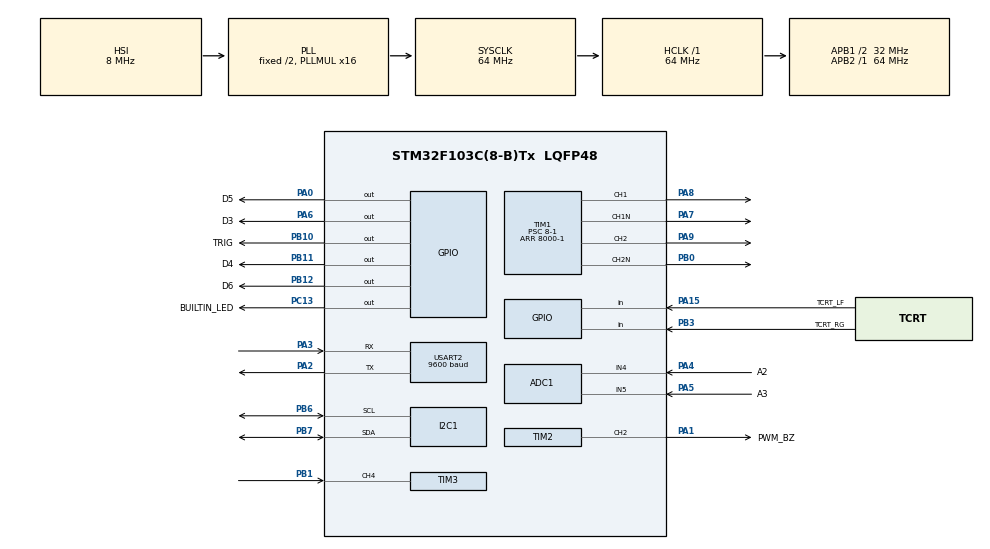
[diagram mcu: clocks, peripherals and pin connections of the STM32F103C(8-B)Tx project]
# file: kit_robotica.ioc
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ADC1.Channel-0\#ChannelRegularConversion=ADC_CHANNEL_4
ADC1.Channel-3\#ChannelRegularConversion=ADC_CHANNEL_5
ADC1.ContinuousConvMode=ENABLE
ADC1.DataAlign=ADC_DATAALIGN_RIGHT
ADC1.DiscontinuousConvMode=DISABLE
ADC1.EnableAnalogWatchDog=false
ADC1.EnableRegularConversion=ENABLE
ADC1.ExternalTrigConv=ADC_SOFTWARE_START
ADC1.InjNumberOfConversion=0
ADC1.NbrOfConversion=2
ADC1.NbrOfConversionFlag=1
ADC1.Rank-0\#ChannelRegularConversion=1
ADC1.Rank-3\#ChannelRegularConversion=2
ADC1.SamplingTime-0\#ChannelRegularConversion=ADC_SAMPLETIME_239CYCLES_5
ADC1.SamplingTime-3\#ChannelRegularConversion=ADC_SAMPLETIME_239CYCLES_5
ADC1.ScanConvMode=ADC_SCAN_ENABLE
ADC1.master=1
I2C1.I2C_Mode=I2C_Fast
Mcu.Family=STM32F1
Mcu.Name=STM32F103C(8-B)Tx
Mcu.Package=LQFP48
NVIC.PriorityGroup=NVIC_PRIORITYGROUP_4
NVIC.TIM3_IRQn=true\:0\:0\:false\:false\:true\:true
PA0-WKUP.GPIO_Label=D5
PA0-WKUP.Signal=GPIO_Output
PA1.GPIO_Label=PWM_BZ
PA1.GPIO_ModeDefaultPP=GPIO_MODE_AF_PP
PA1.Signal=S_TIM2_CH2
PA13.Mode=Serial_Wire
PA13.Signal=SYS_JTMS-SWDIO
PA14.Mode=Serial_Wire
PA14.Signal=SYS_JTCK-SWCLK
PA15.GPIO_Label=TCRT_LF
PA15.GPIO_PuPd=GPIO_PULLUP
PA15.Signal=GPIO_Input
PA2.Mode=Asynchronous
PA2.Signal=USART2_TX
PA3.Mode=Asynchronous
PA3.Signal=USART2_RX
PA4.GPIO_Label=A2
PA4.Signal=ADCx_IN4
PA5.GPIO_Label=A3
PA5.Signal=ADCx_IN5
PA6.GPIO_Label=D3
PA6.Signal=GPIO_Output
PA7.Mode=PWM Generation1 CH1 CH1N
PA7.Signal=TIM1_CH1N
PA8.Signal=S_TIM1_CH1
PA9.Signal=S_TIM1_CH2
PB0.Mode=PWM Generation2 CH2 CH2N
PB0.Signal=TIM1_CH2N
PB1.Signal=S_TIM3_CH4
PB10.GPIO_Label=TRIG
PB10.Signal=GPIO_Output
PB11.GPIO_Label=D4
PB11.Signal=GPIO_Output
PB12.GPIO_Label=D6
PB12.Signal=GPIO_Output
PB3.GPIO_Label=TCRT_RG
PB3.GPIO_PuPd=GPIO_PULLUP
PB3.Signal=GPIO_Input
PB6.Mode=I2C
PB6.Signal=I2C1_SCL
PB7.Mode=I2C
PB7.Signal=I2C1_SDA
PC13-TAMPER-RTC.GPIO_Label=BUILTIN_LED
PC13-TAMPER-RTC.GPIO_ModeDefaultOutputPP=GPIO_MODE_OUTPUT_PP
PC13-TAMPER-RTC.Signal=GPIO_Output
ProjectManager.HeapSize=0x200
ProjectManager.StackSize=0x400
ProjectManager.TargetToolchain=TrueSTUDIO
RCC.ADCPresc=RCC_ADCPCLK2_DIV8
RCC.AHBFreq_Value=64000000
RCC.APB1CLKDivider=RCC_HCLK_DIV2
RCC.APB1Freq_Value=32000000
RCC.APB1TimFreq_Value=64000000
RCC.APB2Freq_Value=64000000
RCC.APB2TimFreq_Value=64000000
RCC.HCLKFreq_Value=64000000
RCC.PLLMUL=RCC_PLL_MUL16
RCC.SYSCLKFreq_VALUE=64000000
RCC.SYSCLKSource=RCC_SYSCLKSOURCE_PLLCLK
RCC.USBFreq_Value=64000000
SH.ADCx_IN4.0=ADC1_IN4,IN4
SH.ADCx_IN5.0=ADC1_IN5,IN5
SH.S_TIM1_CH1.0=TIM1_CH1,PWM Generation1 CH1 CH1N
SH.S_TIM1_CH2.0=TIM1_CH2,PWM Generation2 CH2 CH2N
SH.S_TIM2_CH2.0=TIM2_CH2,PWM Generation2 CH2
SH.S_TIM3_CH4.0=TIM3_CH4,Input_Capture4_from_TI4
TIM1.AutomaticOutput=TIM_AUTOMATICOUTPUT_ENABLE
TIM1.Channel-PWM\ Generation1\ CH1\ CH1N=TIM_CHANNEL_1
TIM1.Channel-PWM\ Generation2\ CH2\ CH2N=TIM_CHANNEL_2
TIM1.Period=8000-1
TIM1.Prescaler=8-1
TIM1.Pulse-PWM\ Generation1\ CH1\ CH1N=5000
TIM1.Pulse-PWM\ Generation2\ CH2\ CH2N=5000
TIM2.Channel-PWM\ Generation2\ CH2=TIM_CHANNEL_2
TIM2.Period=255-1
TIM2.Prescaler=984-1
TIM3.Channel-Input_Capture4_from_TI4=TIM_CHANNEL_4
TIM3.Period=65535-1
TIM3.Prescaler=64-1
USART2.BaudRate=9600
USART2.VirtualMode=VM_ASYNC
VP_TIM1_VS_ClockSourceINT.Mode=Internal
VP_TIM2_VS_ClockSourceINT.Mode=Internal
VP_TIM3_VS_ClockSourceINT.Mode=Internal
board=custom

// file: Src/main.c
/**
  ******************************************************************************
  * @file           : main.c
  * @brief          : Main program body
  ******************************************************************************
  ** This notice applies to any and all portions of this file
  * that are not between comment pairs USER CODE BEGIN and
  * USER CODE END. Other portions of this file, whether
  * inserted by the user or by software development tools
  * are owned by their respective copyright owners.
  *
  * COPYRIGHT(c) 2020 STMicroelectronics
  *
  * Redistribution and use in source and binary forms, with or without modification,
  * are permitted provided that the following conditions are met:
  *   1. Redistributions of source code must retain the above copyright notice,
  *      this list of conditions and the following disclaimer.
  *   2. Redistributions in binary form must reproduce the above copyright notice,
  *      this list of conditions and the following disclaimer in the documentation
  *      and/or other materials provided with the distribution.
  *   3. Neither the name of STMicroelectronics nor the names of its contributors
  *      may be used to endorse or promote products derived from this software
  *      without specific prior written permission.
  *
  * THIS SOFTWARE IS PROVIDED BY THE COPYRIGHT HOLDERS AND CONTRIBUTORS "AS IS"
  * AND ANY EXPRESS OR IMPLIED WARRANTIES, INCLUDING, BUT NOT LIMITED TO, THE
  * IMPLIED WARRANTIES OF MERCHANTABILITY AND FITNESS FOR A PARTICULAR PURPOSE ARE
  * DISCLAIMED. IN NO EVENT SHALL THE COPYRIGHT HOLDER OR CONTRIBUTORS BE LIABLE
  * FOR ANY DIRECT, INDIRECT, INCIDENTAL, SPECIAL, EXEMPLARY, OR CONSEQUENTIAL
  * DAMAGES (INCLUDING, BUT NOT LIMITED TO, PROCUREMENT OF SUBSTITUTE GOODS OR
  * SERVICES; LOSS OF USE, DATA, OR PROFITS; OR BUSINESS INTERRUPTION) HOWEVER
  * CAUSED AND ON ANY THEORY OF LIABILITY, WHETHER IN CONTRACT, STRICT LIABILITY,
  * OR TORT (INCLUDING NEGLIGENCE OR OTHERWISE) ARISING IN ANY WAY OUT OF THE USE
  * OF THIS SOFTWARE, EVEN IF ADVISED OF THE POSSIBILITY OF SUCH DAMAGE.
  *
  ******************************************************************************
  */
#include "main.h"
#include "stm32f1xx_hal.h"

/* USER CODE BEGIN Includes */
#include "system_utils.h"
#include "system_timers.h"
#include "motor_control.h"
/* USER CODE END Includes */

ADC_HandleTypeDef hadc1;

I2C_HandleTypeDef hi2c1;

TIM_HandleTypeDef htim1;
TIM_HandleTypeDef htim2;
TIM_HandleTypeDef htim3;

UART_HandleTypeDef huart2;

/* USER CODE BEGIN PV */

/* Private variables ---------------------------------------------------------*/
#define SENSORS_POLL_INTERVAL 		30000	// 30s
#define LED_INTERVAL				500		// 500ms
#define MOTOR_CONTROL_INTERVAL		1000	// 1s
#define DEBUG_INTERVAL				5000	// 5s

timers_t polling_timer;
timers_t led_timer;
timers_t motor_control_timer;
timers_t debug_timer;

extern uint8_t line_follower_mode_on;

/* USER CODE END PV */

void SystemClock_Config(void);
static void MX_GPIO_Init(void);
static void MX_USART2_UART_Init(void);
static void MX_TIM1_Init(void);
static void MX_TIM2_Init(void);
static void MX_TIM3_Init(void);
static void MX_I2C1_Init(void);
static void MX_ADC1_Init(void);

void HAL_TIM_MspPostInit(TIM_HandleTypeDef *htim);

/* USER CODE BEGIN PFP */
/* Private function prototypes -----------------------------------------------*/

/* USER CODE END PFP */

int main(void)
{

  /* MCU Configuration----------------------------------------------------------*/

  /* Reset of all peripherals, Initializes the Flash interface and the Systick. */
  HAL_Init();

  /* Configure the system clock */
  SystemClock_Config();

  /* Initialize all configured peripherals */
  MX_GPIO_Init();
  MX_USART2_UART_Init();
  MX_TIM1_Init();
  MX_TIM2_Init();
  MX_TIM3_Init();
  MX_I2C1_Init();
  MX_ADC1_Init();
  /* USER CODE BEGIN 2 */

  HAL_TIM_Base_Start_IT(&htim1);
  HAL_TIM_PWM_Start(&htim2, TIM_CHANNEL_2);
  HAL_TIM_Base_Start(&htim3);
  HAL_TIM_IC_Start_IT(&htim3, TIM_CHANNEL_4);

  char message[] = {"System started!\n"};
  HAL_UART_Transmit(&huart2, (uint8_t*)message, sizeof(message), 100);

  System_Init();

  Timer_Init(&polling_timer, CONTINUOUS_MODE);
  Timer_Start(&polling_timer, HAL_GetTick(), SENSORS_POLL_INTERVAL);

  Timer_Init(&led_timer, CONTINUOUS_MODE);
  Timer_Start(&led_timer, HAL_GetTick(), LED_INTERVAL);

  Timer_Init(&debug_timer, CONTINUOUS_MODE);
  Timer_Start(&debug_timer, HAL_GetTick(), DEBUG_INTERVAL );

  Timer_Init(&motor_control_timer, CONTINUOUS_MODE);
  Timer_Start(&motor_control_timer, HAL_GetTick(), MOTOR_CONTROL_INTERVAL );

  /* USER CODE END 2 */

  /* Infinite loop */
  /* USER CODE BEGIN WHILE */

  while(1)
  {
	  UART_ReadData();

	  if(Timer_Timeout(&polling_timer, HAL_GetTick()))
	  {
		  Sensors_Update();
		  Battery_UpdateStatus();
	  }

	  if(Timer_Timeout(&led_timer, HAL_GetTick()))
	  {
		  LED_Routine();
		  HAL_GPIO_TogglePin(BUILTIN_LED_GPIO_Port, BUILTIN_LED_Pin);
	  }

	  if(Timer_Timeout(&motor_control_timer, HAL_GetTick()))
	  {
		  if(line_follower_mode_on)
			  Line_Follower_Update();
	  }

	  if(Timer_Timeout(&debug_timer, HAL_GetTick()))
	  {
		  Buzzer_Routine();
	  }

  /* USER CODE END WHILE */

  }

}

void SystemClock_Config(void)
{

  RCC_OscInitTypeDef RCC_OscInitStruct;
  RCC_ClkInitTypeDef RCC_ClkInitStruct;
  RCC_PeriphCLKInitTypeDef PeriphClkInit;

    /**Initializes the CPU, AHB and APB busses clocks
    */
  RCC_OscInitStruct.OscillatorType = RCC_OSCILLATORTYPE_HSI;
  RCC_OscInitStruct.HSIState = RCC_HSI_ON;
  RCC_OscInitStruct.HSICalibrationValue = 16;
  RCC_OscInitStruct.PLL.PLLState = RCC_PLL_ON;
  RCC_OscInitStruct.PLL.PLLSource = RCC_PLLSOURCE_HSI_DIV2;
  RCC_OscInitStruct.PLL.PLLMUL = RCC_PLL_MUL16;
  if (HAL_RCC_OscConfig(&RCC_OscInitStruct) != HAL_OK)
  {
    _Error_Handler(__FILE__, __LINE__);
  }

    /**Initializes the CPU, AHB and APB busses clocks
    */
  RCC_ClkInitStruct.ClockType = RCC_CLOCKTYPE_HCLK|RCC_CLOCKTYPE_SYSCLK
                              |RCC_CLOCKTYPE_PCLK1|RCC_CLOCKTYPE_PCLK2;
  RCC_ClkInitStruct.SYSCLKSource = RCC_SYSCLKSOURCE_PLLCLK;
  RCC_ClkInitStruct.AHBCLKDivider = RCC_SYSCLK_DIV1;
  RCC_ClkInitStruct.APB1CLKDivider = RCC_HCLK_DIV2;
  RCC_ClkInitStruct.APB2CLKDivider = RCC_HCLK_DIV1;

  if (HAL_RCC_ClockConfig(&RCC_ClkInitStruct, FLASH_LATENCY_2) != HAL_OK)
  {
    _Error_Handler(__FILE__, __LINE__);
  }

  PeriphClkInit.PeriphClockSelection = RCC_PERIPHCLK_ADC;
  PeriphClkInit.AdcClockSelection = RCC_ADCPCLK2_DIV8;
  if (HAL_RCCEx_PeriphCLKConfig(&PeriphClkInit) != HAL_OK)
  {
    _Error_Handler(__FILE__, __LINE__);
  }

    /**Configure the Systick interrupt time
    */
  HAL_SYSTICK_Config(HAL_RCC_GetHCLKFreq()/1000);

    /**Configure the Systick
    */
  HAL_SYSTICK_CLKSourceConfig(SYSTICK_CLKSOURCE_HCLK);

  /* SysTick_IRQn interrupt configuration */
  HAL_NVIC_SetPriority(SysTick_IRQn, 0, 0);
}

/* ADC1 init function */
static void MX_ADC1_Init(void)
{

  ADC_ChannelConfTypeDef sConfig;

    /**Common config
    */
  hadc1.Instance = ADC1;
  hadc1.Init.ScanConvMode = ADC_SCAN_ENABLE;
  hadc1.Init.ContinuousConvMode = ENABLE;
  hadc1.Init.DiscontinuousConvMode = DISABLE;
  hadc1.Init.ExternalTrigConv = ADC_SOFTWARE_START;
  hadc1.Init.DataAlign = ADC_DATAALIGN_RIGHT;
  hadc1.Init.NbrOfConversion = 2;
  if (HAL_ADC_Init(&hadc1) != HAL_OK)
  {
    _Error_Handler(__FILE__, __LINE__);
  }

    /**Configure Regular Channel
    */
  sConfig.Channel = ADC_CHANNEL_4;
  sConfig.Rank = ADC_REGULAR_RANK_1;
  sConfig.SamplingTime = ADC_SAMPLETIME_239CYCLES_5;
  if (HAL_ADC_ConfigChannel(&hadc1, &sConfig) != HAL_OK)
  {
    _Error_Handler(__FILE__, __LINE__);
  }

    /**Configure Regular Channel
    */
  sConfig.Channel = ADC_CHANNEL_5;
  sConfig.Rank = ADC_REGULAR_RANK_2;
  if (HAL_ADC_ConfigChannel(&hadc1, &sConfig) != HAL_OK)
  {
    _Error_Handler(__FILE__, __LINE__);
  }

}

/* I2C1 init function */
static void MX_I2C1_Init(void)
{

  hi2c1.Instance = I2C1;
  hi2c1.Init.ClockSpeed = 400000;
  hi2c1.Init.DutyCycle = I2C_DUTYCYCLE_2;
  hi2c1.Init.OwnAddress1 = 0;
  hi2c1.Init.AddressingMode = I2C_ADDRESSINGMODE_7BIT;
  hi2c1.Init.DualAddressMode = I2C_DUALADDRESS_DISABLE;
  hi2c1.Init.OwnAddress2 = 0;
  hi2c1.Init.GeneralCallMode = I2C_GENERALCALL_DISABLE;
  hi2c1.Init.NoStretchMode = I2C_NOSTRETCH_DISABLE;
  if (HAL_I2C_Init(&hi2c1) != HAL_OK)
  {
    _Error_Handler(__FILE__, __LINE__);
  }

}

/* TIM1 init function */
static void MX_TIM1_Init(void)
{

  TIM_ClockConfigTypeDef sClockSourceConfig;
  TIM_MasterConfigTypeDef sMasterConfig;
  TIM_OC_InitTypeDef sConfigOC;
  TIM_BreakDeadTimeConfigTypeDef sBreakDeadTimeConfig;

  htim1.Instance = TIM1;
  htim1.Init.Prescaler = 8-1;
  htim1.Init.CounterMode = TIM_COUNTERMODE_UP;
  htim1.Init.Period = 8000-1;
  htim1.Init.ClockDivision = TIM_CLOCKDIVISION_DIV1;
  htim1.Init.RepetitionCounter = 0;
  htim1.Init.AutoReloadPreload = TIM_AUTORELOAD_PRELOAD_DISABLE;
  if (HAL_TIM_Base_Init(&htim1) != HAL_OK)
  {
    _Error_Handler(__FILE__, __LINE__);
  }

  sClockSourceConfig.ClockSource = TIM_CLOCKSOURCE_INTERNAL;
  if (HAL_TIM_ConfigClockSource(&htim1, &sClockSourceConfig) != HAL_OK)
  {
    _Error_Handler(__FILE__, __LINE__);
  }

  if (HAL_TIM_PWM_Init(&htim1) != HAL_OK)
  {
    _Error_Handler(__FILE__, __LINE__);
  }

  sMasterConfig.MasterOutputTrigger = TIM_TRGO_RESET;
  sMasterConfig.MasterSlaveMode = TIM_MASTERSLAVEMODE_DISABLE;
  if (HAL_TIMEx_MasterConfigSynchronization(&htim1, &sMasterConfig) != HAL_OK)
  {
    _Error_Handler(__FILE__, __LINE__);
  }

  sConfigOC.OCMode = TIM_OCMODE_PWM1;
  sConfigOC.Pulse = 5000;
  sConfigOC.OCPolarity = TIM_OCPOLARITY_HIGH;
  sConfigOC.OCNPolarity = TIM_OCNPOLARITY_HIGH;
  sConfigOC.OCFastMode = TIM_OCFAST_DISABLE;
  sConfigOC.OCIdleState = TIM_OCIDLESTATE_RESET;
  sConfigOC.OCNIdleState = TIM_OCNIDLESTATE_RESET;
  if (HAL_TIM_PWM_ConfigChannel(&htim1, &sConfigOC, TIM_CHANNEL_1) != HAL_OK)
  {
    _Error_Handler(__FILE__, __LINE__);
  }

  if (HAL_TIM_PWM_ConfigChannel(&htim1, &sConfigOC, TIM_CHANNEL_2) != HAL_OK)
  {
    _Error_Handler(__FILE__, __LINE__);
  }

  sBreakDeadTimeConfig.OffStateRunMode = TIM_OSSR_DISABLE;
  sBreakDeadTimeConfig.OffStateIDLEMode = TIM_OSSI_DISABLE;
  sBreakDeadTimeConfig.LockLevel = TIM_LOCKLEVEL_OFF;
  sBreakDeadTimeConfig.DeadTime = 0;
  sBreakDeadTimeConfig.BreakState = TIM_BREAK_DISABLE;
  sBreakDeadTimeConfig.BreakPolarity = TIM_BREAKPOLARITY_HIGH;
  sBreakDeadTimeConfig.AutomaticOutput = TIM_AUTOMATICOUTPUT_ENABLE;
  if (HAL_TIMEx_ConfigBreakDeadTime(&htim1, &sBreakDeadTimeConfig) != HAL_OK)
  {
    _Error_Handler(__FILE__, __LINE__);
  }

  HAL_TIM_MspPostInit(&htim1);

}

/* TIM2 init function */
static void MX_TIM2_Init(void)
{

  TIM_ClockConfigTypeDef sClockSourceConfig;
  TIM_MasterConfigTypeDef sMasterConfig;
  TIM_OC_InitTypeDef sConfigOC;

  htim2.Instance = TIM2;
  htim2.Init.Prescaler = 984-1;
  htim2.Init.CounterMode = TIM_COUNTERMODE_UP;
  htim2.Init.Period = 255-1;
  htim2.Init.ClockDivision = TIM_CLOCKDIVISION_DIV1;
  htim2.Init.AutoReloadPreload = TIM_AUTORELOAD_PRELOAD_DISABLE;
  if (HAL_TIM_Base_Init(&htim2) != HAL_OK)
  {
    _Error_Handler(__FILE__, __LINE__);
  }

  sClockSourceConfig.ClockSource = TIM_CLOCKSOURCE_INTERNAL;
  if (HAL_TIM_ConfigClockSource(&htim2, &sClockSourceConfig) != HAL_OK)
  {
    _Error_Handler(__FILE__, __LINE__);
  }

  if (HAL_TIM_PWM_Init(&htim2) != HAL_OK)
  {
    _Error_Handler(__FILE__, __LINE__);
  }

  sMasterConfig.MasterOutputTrigger = TIM_TRGO_RESET;
  sMasterConfig.MasterSlaveMode = TIM_MASTERSLAVEMODE_DISABLE;
  if (HAL_TIMEx_MasterConfigSynchronization(&htim2, &sMasterConfig) != HAL_OK)
  {
    _Error_Handler(__FILE__, __LINE__);
  }

  sConfigOC.OCMode = TIM_OCMODE_PWM1;
  sConfigOC.Pulse = 0;
  sConfigOC.OCPolarity = TIM_OCPOLARITY_HIGH;
  sConfigOC.OCFastMode = TIM_OCFAST_DISABLE;
  if (HAL_TIM_PWM_ConfigChannel(&htim2, &sConfigOC, TIM_CHANNEL_2) != HAL_OK)
  {
    _Error_Handler(__FILE__, __LINE__);
  }

  HAL_TIM_MspPostInit(&htim2);

}

/* TIM3 init function */
static void MX_TIM3_Init(void)
{

  TIM_ClockConfigTypeDef sClockSourceConfig;
  TIM_MasterConfigTypeDef sMasterConfig;
  TIM_IC_InitTypeDef sConfigIC;

  htim3.Instance = TIM3;
  htim3.Init.Prescaler = 64-1;
  htim3.Init.CounterMode = TIM_COUNTERMODE_UP;
  htim3.Init.Period = 65535-1;
  htim3.Init.ClockDivision = TIM_CLOCKDIVISION_DIV1;
  htim3.Init.AutoReloadPreload = TIM_AUTORELOAD_PRELOAD_DISABLE;
  if (HAL_TIM_Base_Init(&htim3) != HAL_OK)
  {
    _Error_Handler(__FILE__, __LINE__);
  }

  sClockSourceConfig.ClockSource = TIM_CLOCKSOURCE_INTERNAL;
  if (HAL_TIM_ConfigClockSource(&htim3, &sClockSourceConfig) != HAL_OK)
  {
    _Error_Handler(__FILE__, __LINE__);
  }

  if (HAL_TIM_IC_Init(&htim3) != HAL_OK)
  {
    _Error_Handler(__FILE__, __LINE__);
  }

  sMasterConfig.MasterOutputTrigger = TIM_TRGO_RESET;
  sMasterConfig.MasterSlaveMode = TIM_MASTERSLAVEMODE_DISABLE;
  if (HAL_TIMEx_MasterConfigSynchronization(&htim3, &sMasterConfig) != HAL_OK)
  {
    _Error_Handler(__FILE__, __LINE__);
  }

  sConfigIC.ICPolarity = TIM_INPUTCHANNELPOLARITY_RISING;
  sConfigIC.ICSelection = TIM_ICSELECTION_DIRECTTI;
  sConfigIC.ICPrescaler = TIM_ICPSC_DIV1;
  sConfigIC.ICFilter = 0;
  if (HAL_TIM_IC_ConfigChannel(&htim3, &sConfigIC, TIM_CHANNEL_4) != HAL_OK)
  {
    _Error_Handler(__FILE__, __LINE__);
  }

}

/* USART2 init function */
static void MX_USART2_UART_Init(void)
{

  huart2.Instance = USART2;
  huart2.Init.BaudRate = 9600;
  huart2.Init.WordLength = UART_WORDLENGTH_8B;
  huart2.Init.StopBits = UART_STOPBITS_1;
  huart2.Init.Parity = UART_PARITY_NONE;
  huart2.Init.Mode = UART_MODE_TX_RX;
  huart2.Init.HwFlowCtl = UART_HWCONTROL_NONE;
  huart2.Init.OverSampling = UART_OVERSAMPLING_16;
  if (HAL_UART_Init(&huart2) != HAL_OK)
  {
    _Error_Handler(__FILE__, __LINE__);
  }

}

/** Configure pins as
        * Analog
        * Input
        * Output
        * EVENT_OUT
        * EXTI
*/
static void MX_GPIO_Init(void)
{

  GPIO_InitTypeDef GPIO_InitStruct;

  /* GPIO Ports Clock Enable */
  __HAL_RCC_GPIOC_CLK_ENABLE();
  __HAL_RCC_GPIOA_CLK_ENABLE();
  __HAL_RCC_GPIOB_CLK_ENABLE();

  /*Configure GPIO pin Output Level */
  HAL_GPIO_WritePin(BUILTIN_LED_GPIO_Port, BUILTIN_LED_Pin, GPIO_PIN_RESET);

  /*Configure GPIO pin Output Level */
  HAL_GPIO_WritePin(GPIOA, D5_Pin|D3_Pin, GPIO_PIN_RESET);

  /*Configure GPIO pin Output Level */
  HAL_GPIO_WritePin(GPIOB, TRIG_Pin|D4_Pin|D6_Pin, GPIO_PIN_RESET);

  /*Configure GPIO pin : BUILTIN_LED_Pin */
  GPIO_InitStruct.Pin = BUILTIN_LED_Pin;
  GPIO_InitStruct.Mode = GPIO_MODE_OUTPUT_PP;
  GPIO_InitStruct.Pull = GPIO_NOPULL;
  GPIO_InitStruct.Speed = GPIO_SPEED_FREQ_LOW;
  HAL_GPIO_Init(BUILTIN_LED_GPIO_Port, &GPIO_InitStruct);

  /*Configure GPIO pins : D5_Pin D3_Pin */
  GPIO_InitStruct.Pin = D5_Pin|D3_Pin;
  GPIO_InitStruct.Mode = GPIO_MODE_OUTPUT_PP;
  GPIO_InitStruct.Pull = GPIO_NOPULL;
  GPIO_InitStruct.Speed = GPIO_SPEED_FREQ_LOW;
  HAL_GPIO_Init(GPIOA, &GPIO_InitStruct);

  /*Configure GPIO pins : TRIG_Pin D4_Pin D6_Pin */
  GPIO_InitStruct.Pin = TRIG_Pin|D4_Pin|D6_Pin;
  GPIO_InitStruct.Mode = GPIO_MODE_OUTPUT_PP;
  GPIO_InitStruct.Pull = GPIO_NOPULL;
  GPIO_InitStruct.Speed = GPIO_SPEED_FREQ_LOW;
  HAL_GPIO_Init(GPIOB, &GPIO_InitStruct);

  /*Configure GPIO pin : TCRT_LF_Pin */
  GPIO_InitStruct.Pin = TCRT_LF_Pin;
  GPIO_InitStruct.Mode = GPIO_MODE_INPUT;
  GPIO_InitStruct.Pull = GPIO_PULLUP;
  HAL_GPIO_Init(TCRT_LF_GPIO_Port, &GPIO_InitStruct);

  /*Configure GPIO pin : TCRT_RG_Pin */
  GPIO_InitStruct.Pin = TCRT_RG_Pin;
  GPIO_InitStruct.Mode = GPIO_MODE_INPUT;
  GPIO_InitStruct.Pull = GPIO_PULLUP;
  HAL_GPIO_Init(TCRT_RG_GPIO_Port, &GPIO_InitStruct);

}

void _Error_Handler(char *file, int line)
{
  while(1)
  {
  }
}

/************************ (C) COPYRIGHT STMicroelectronics *****END OF FILE****/
